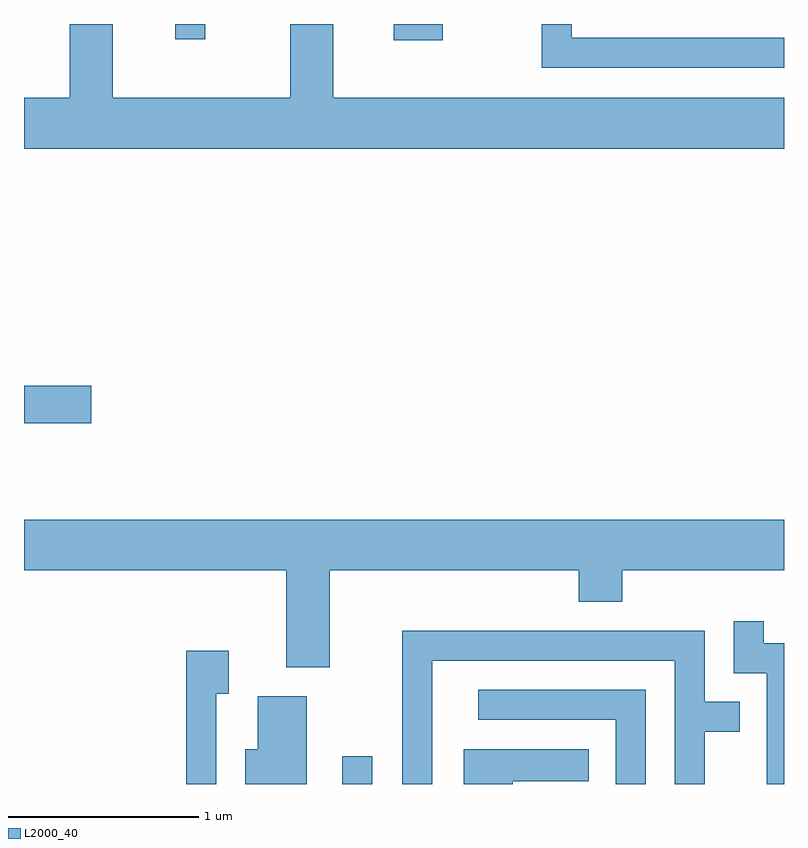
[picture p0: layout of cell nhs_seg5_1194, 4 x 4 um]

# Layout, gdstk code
import gdstk
lib = gdstk.Library(unit=1e-6, precision=1e-09)
def R(c, l, rs):  # rectangles x0, y0, x1, y1
    for r in rs: c.add(gdstk.rectangle(r[:2], r[2:], *l))
def P(c, l, *ps):  # polygons
    for p in ps: c.add(gdstk.Polygon(p, *l))
L2000_40 = (2000, 40)

nhs_seg5_1194 = lib.new_cell('nhs_seg5_1194')
R(nhs_seg5_1194, L2000_40, [(221.286,1500.072,221.444,1500.218), (219.611,1501.971,219.964,1502.169), (221.556,1503.986,221.814,1504.072), (220.406,1503.993,220.564,1504.072)])
P(nhs_seg5_1194, L2000_40, [(223.611,1503.684),(221.239,1503.684),(221.239,1504.072),(221.011,1504.072),(221.011,1503.684),(220.079,1503.684),(220.079,1504.072),(219.851,1504.072),(219.851,1503.684),(219.611,1503.684),(219.611,1503.416),(223.611,1503.416)],
  [(223.611,1503.999),(222.494,1503.999),(222.494,1504.072),(222.336,1504.072),(222.336,1503.841),(223.611,1503.841)],
  [(221.219,1501.196),(222.531,1501.196),(222.531,1501.031),(222.759,1501.031),(222.759,1501.196),(223.611,1501.196),(223.611,1501.464),(219.611,1501.464),(219.611,1501.196),(220.991,1501.196),(220.991,1500.686),(221.219,1500.686)],
  [(223.611,1500.814),(223.504,1500.814),(223.504,1500.928),(223.346,1500.928),(223.346,1500.656),(223.521,1500.656),(223.521,1500.072),(223.611,1500.072)],
  [(221.759,1500.721),(223.036,1500.721),(223.036,1500.072),(223.194,1500.072),(223.194,1500.346),(223.378,1500.346),(223.378,1500.504),(223.194,1500.504),(223.194,1500.879),(221.601,1500.879),(221.601,1500.072),(221.759,1500.072)],
  [(220.624,1500.546),(220.689,1500.546),(220.689,1500.774),(220.466,1500.774),(220.466,1500.072),(220.624,1500.072)],
  [(222.884,1500.569),(222.003,1500.569),(222.003,1500.411),(222.726,1500.411),(222.726,1500.072),(222.884,1500.072)],
  [(221.099,1500.534),(220.841,1500.534),(220.841,1500.254),(220.776,1500.254),(220.776,1500.072),(221.099,1500.072)],
  [(222.184,1500.086),(222.583,1500.086),(222.583,1500.254),(221.926,1500.254),(221.926,1500.072),(222.184,1500.072)])

lib.write_gds('nhs_seg5_1194.gds')
